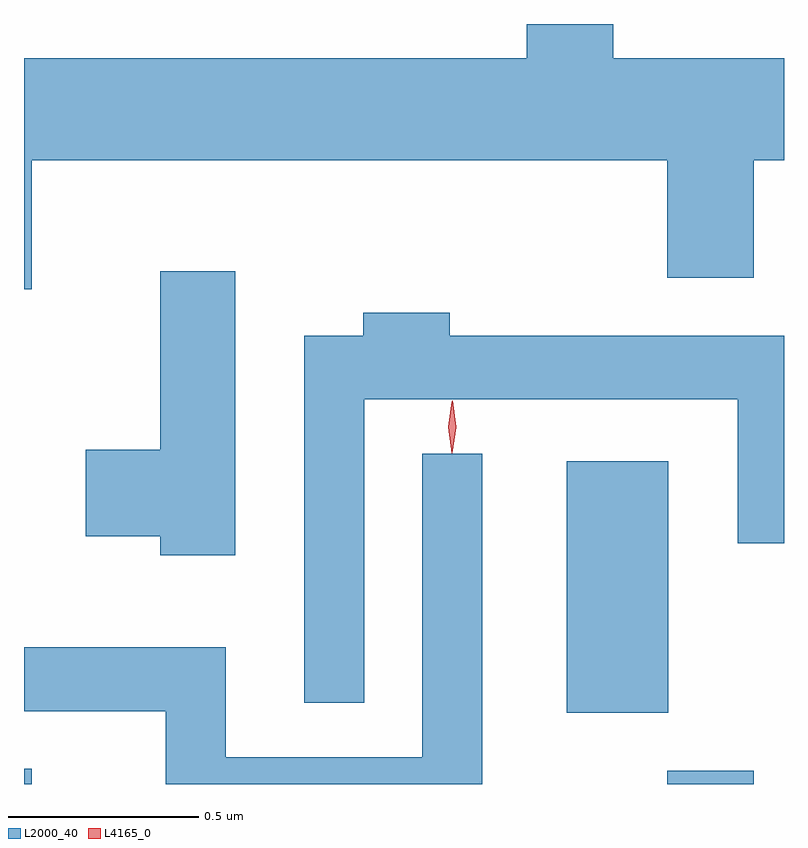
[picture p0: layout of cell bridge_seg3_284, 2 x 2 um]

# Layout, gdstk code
import gdstk
lib = gdstk.Library(unit=1e-6, precision=1e-09)
def R(c, l, rs):  # rectangles x0, y0, x1, y1
    for r in rs: c.add(gdstk.rectangle(r[:2], r[2:], *l))
def P(c, l, *ps):  # polygons
    for p in ps: c.add(gdstk.Polygon(p, *l))
L2000_40 = (2000, 40)
L4165_0 = (4165, 0)

bridge_seg3_284 = lib.new_cell('bridge_seg3_284')
R(bridge_seg3_284, L2000_40, [(1076.668,1142.134,1076.689,1142.174), (1078.361,1142.134,1078.589,1142.169), (1078.096,1142.321,1078.364,1142.984)])
P(bridge_seg3_284, L2000_40, [(1076.689,1143.776),(1078.361,1143.776),(1078.361,1143.466),(1078.589,1143.466),(1078.589,1143.776),(1078.668,1143.776),(1078.668,1144.044),(1078.219,1144.044),(1078.219,1144.134),(1077.991,1144.134),(1077.991,1144.044),(1076.668,1144.044),(1076.668,1143.436),(1076.689,1143.436)],
  [(1077.224,1143.484),(1077.026,1143.484),(1077.026,1143.014),(1076.831,1143.014),(1076.831,1142.786),(1077.026,1142.786),(1077.026,1142.736),(1077.224,1142.736)],
  [(1077.564,1143.146),(1078.546,1143.146),(1078.546,1142.768),(1078.668,1142.768),(1078.668,1143.314),(1077.789,1143.314),(1077.789,1143.374),(1077.561,1143.374),(1077.561,1143.314),(1077.406,1143.314),(1077.406,1142.348),(1077.564,1142.348)],
  [(1077.874,1143.003),(1077.716,1143.003),(1077.716,1142.204),(1077.199,1142.204),(1077.199,1142.494),(1076.668,1142.494),(1076.668,1142.326),(1077.041,1142.326),(1077.041,1142.134),(1077.874,1142.134)])
P(bridge_seg3_284, L4165_0, [(1077.794,1143.007),(1077.785,1143.074),(1077.794,1143.14),(1077.795,1143.141),(1077.795,1143.14),(1077.805,1143.074),(1077.795,1143.007),(1077.795,1143.007)],
  [(1077.794,1143.004),(1077.785,1143.073),(1077.795,1143.142),(1077.795,1143.143),(1077.796,1143.142),(1077.805,1143.073),(1077.795,1143.004),(1077.795,1143.004)])

lib.write_gds('bridge_seg3_284.gds')
